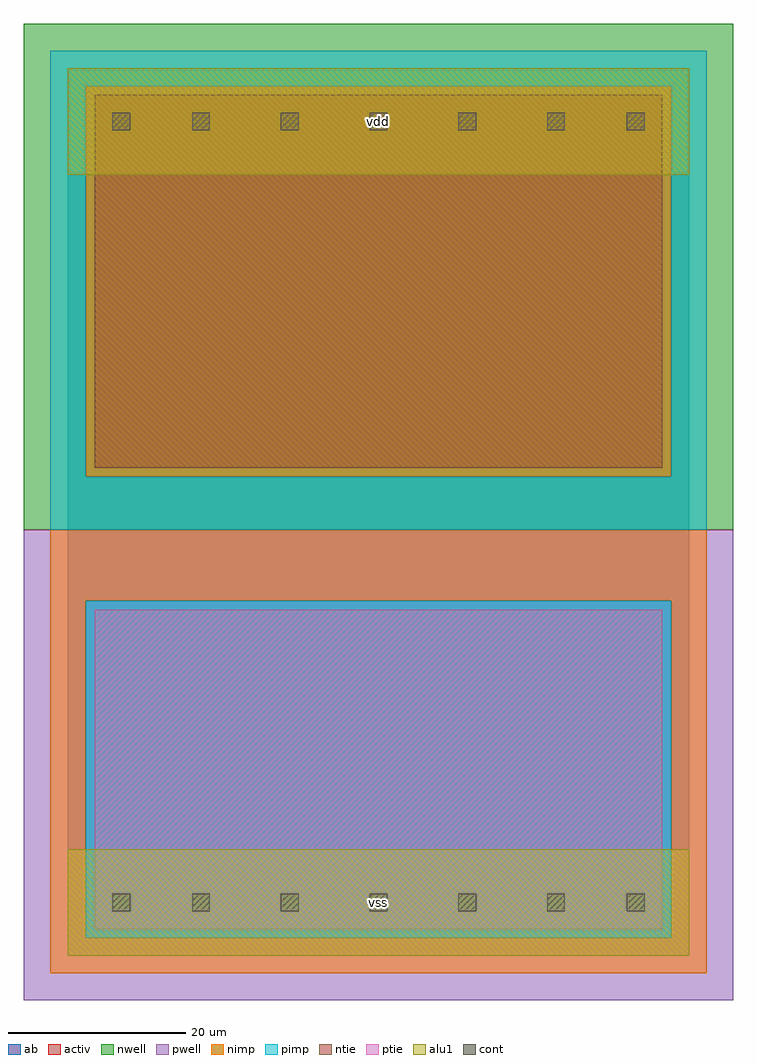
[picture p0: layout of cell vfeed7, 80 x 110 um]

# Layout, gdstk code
import gdstk
lib = gdstk.Library(unit=1e-6, precision=1e-09)
def R(c, l, rs):  # rectangles x0, y0, x1, y1
    for r in rs: c.add(gdstk.rectangle(r[:2], r[2:], *l))
def A(c, l, x, y, w, h, nx, ny, dx, dy):  # array of equal rectangles
    R(c, l, [(x+i*dx, y+j*dy, x+i*dx+w, y+j*dy+h) for i in range(nx) for j in range(ny)])
ntie = (5, 0)
ptie = (6, 0)
cont = (25, 0)
pwell = (41, 0)
nwell = (42, 0)
activ = (43, 0)
pimp = (44, 0)
nimp = (45, 0)
alu1 = (49, 0)
ab = (63, 0)

vfeed7 = lib.new_cell('vfeed7')
R(vfeed7, ntie, [(3,55,67,97)])
R(vfeed7, ptie, [(3,3,67,39)])
A(vfeed7, cont, 14, 5, 2, 2, 5, 2, 10, 88)
R(vfeed7, cont, [(5,5,7,7), (63,5,65,7), (5,93,7,95), (63,93,65,95)])
R(vfeed7, pwell, [(-5,-5,75,48)])
R(vfeed7, nwell, [(-5,48,75,105)])
R(vfeed7, activ, [(3,3,67,39), (3,55,67,97)])
R(vfeed7, pimp, [(2,2,68,40), (-2,48,72,54), (-2,54,2,98), (68,54,72,98), (-2,98,72,102)])
R(vfeed7, nimp, [(-2,-2,72,2), (-2,2,2,40), (68,2,72,40), (-2,40,72,48), (2,54,68,98)])
R(vfeed7, alu1, [(0,0,70,12), (0,88,70,100)])
R(vfeed7, ab, [(0,0,70,100)])
vfeed7.add(gdstk.Label('vss', (35,6), layer=49, texttype=0))
vfeed7.add(gdstk.Label('vdd', (35,94), layer=49, texttype=0))

lib.write_gds('vfeed7.gds')
